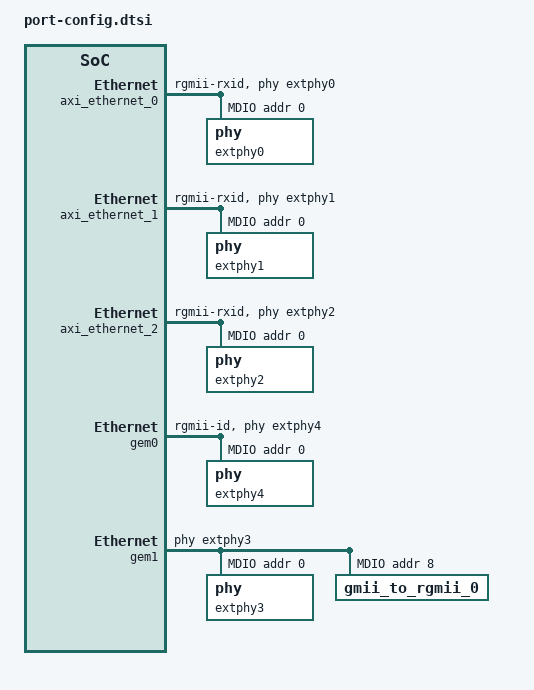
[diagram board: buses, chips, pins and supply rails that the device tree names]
// SPDX-License-Identifier: MIT
// Copyright (C) 2025-2026, Opsero Electronic Design Inc.  All rights reserved.

/*
 * Ethernet FMC Zynq GEM port config: ports-0123-axieth.
 *
 * Per-port external-PHY wiring (MAC address, phy-handle, MDIO bus, phy-mode)
 * layered on the SDT-generated Linux device tree. Selected per target by
 * Yocto/scripts/configure-build.sh from the target's lane-derived port config.
 */

&axi_ethernet_0 {  
    	/delete-property/ xlnx,phy-type;
        local-mac-address = [00 0a 35 00 01 22];  
        phy-handle = <&extphy0>;  
        xlnx,has-mdio = <0x1>;  
        phy-mode = "rgmii-rxid";  
        mdio {  
            #address-cells = <1>;  
            #size-cells = <0>;  
            extphy0: phy@0 {  
                device_type = "ethernet-phy";  
                reg = <0>;  
            };  
        };  
    };  
      
    &axi_ethernet_1 {  
    	/delete-property/ xlnx,phy-type;
        local-mac-address = [00 0a 35 00 01 23];  
        phy-handle = <&extphy1>;  
        xlnx,has-mdio = <0x1>;  
        phy-mode = "rgmii-rxid";  
        mdio {  
            #address-cells = <1>;  
            #size-cells = <0>;  
            extphy1: phy@0 {  
                device_type = "ethernet-phy";  
                reg = <0>;  
            };  
        };  
    };  
      
    &axi_ethernet_2 {  
    	/delete-property/ xlnx,phy-type;
        local-mac-address = [00 0a 35 00 01 24];  
        phy-handle = <&extphy2>;  
        xlnx,has-mdio = <0x1>;  
        phy-mode = "rgmii-rxid";  
        mdio {  
            #address-cells = <1>;  
            #size-cells = <0>;  
            extphy2: phy@0 {  
                device_type = "ethernet-phy";  
                reg = <0>;  
            };  
        };  
    };  
      
    &gem0 {
        local-mac-address = [00 0a 35 00 01 26];
        phy-handle = <&extphy4>;
        phy-mode = "rgmii-id";
        status = "okay";
        xlnx,ptp-enet-clock = <0x69f6bcb>;
        xlnx,has-mdio = <0x1>;
        mdio {
                #address-cells = <1>;
                #size-cells = <0>;
                extphy4: phy@0 {
                        device_type = "ethernet-phy";
                        reg = <0>;
                };
        };
    };  
      
    &gem1 {
        local-mac-address = [00 0a 35 00 01 25];
        phy-handle = <&extphy3>;
        status = "okay";
        xlnx,has-mdio = <0x1>;
        mdio {
                #address-cells = <1>;
                #size-cells = <0>;
                extphy3: phy@0 {
                        device_type = "ethernet-phy";
                        reg = <0>;
                };
                gmii_to_rgmii_0: gmii_to_rgmii_0@8 {
                        phy-handle = <&extphy3>;
                        reg = <8>;
                };
        };
    };  
      
